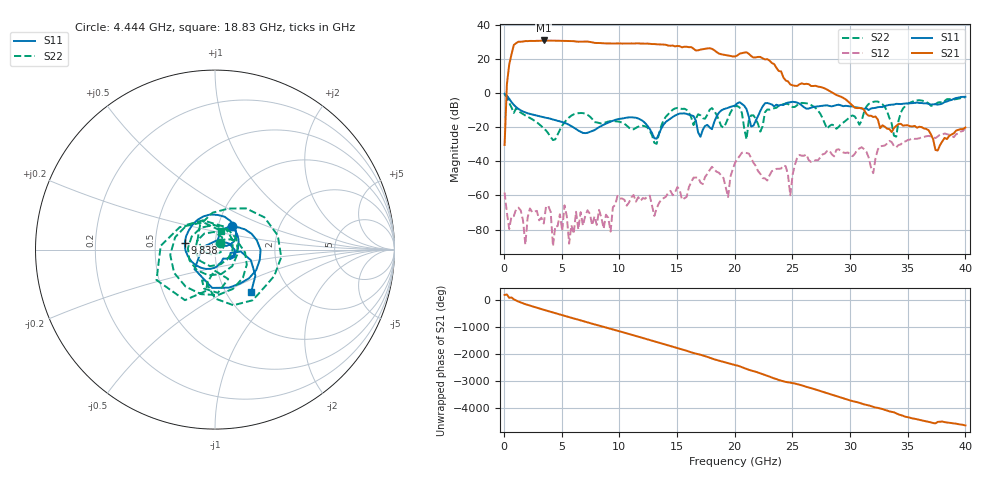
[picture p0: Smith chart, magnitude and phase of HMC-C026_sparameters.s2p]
!Hittite Microwave Corporation
!20 Alpha Road
!Chelmsford, MA 01824
!Tel: 978-250-3343
!Fax: 978-250-3373
!Device: HMC-C026, 2-20 GHz, Wideband PA Module
!Misc: Vdd = +12V, Idd = 400 mA, Room Temperature
# GHZ S DB R 50
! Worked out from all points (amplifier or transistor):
!   201 points, 50 MHz to 40 GHz, reference 50 ohm
!   highest |S21| = 31.0 dB at 3.446 GHz (marker M1)
!   |S21| within 3 dB of that: 836.2 MHz to 14.22 GHz (13.39 GHz wide, 178 % of centre)
!   unconditionally stable (mu >= 1): start of sweep to end of sweep
!   at 6.642 GHz: K = 43.76, MAG = 30.6 dB, |S12| = -69.8 dB
!   at 20.02 GHz: K = 3.00, MAG = 23.6 dB, |S12| = -40.9 dB
!   at 40 GHz: K = 9.24, MAG = -12.5 dB, |S12| = -20.4 dB
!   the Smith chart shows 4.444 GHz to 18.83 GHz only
!   S11 on the Smith chart (normalised r, x): 4.444 GHz: 1.16, +0.32; 9.838 GHz: 0.71, +0.05; 18.83 GHz: 1.30, -0.69
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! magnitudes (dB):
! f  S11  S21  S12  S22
! 50 MHz  -0.3  -30.3  -58.2  -0.7
! 249.8 MHz  -1.4  5.4  -70.2  -2.5
! 849 MHz  -6.8  28.4  -72.1  -11.6
! 3.446 GHz  -14.2  31.0  -76.5  -20.6
! 4.444 GHz  -15.8  30.9  -77.9  -27.1
! 6.841 GHz  -23.3  30.4  -77.7  -11.6
! 9.239 GHz  -16.7  29.2  -81.2  -16.3
! 9.838 GHz  -15.3  29.2  -60.2  -16.5
! 13.43 GHz  -24.0  28.7  -64.5  -23.6
! 15.03 GHz  -12.4  27.8  -55.0  -8.6
! 18.83 GHz  -10.1  22.9  -48.2  -19.2
! 19.43 GHz  -8.5  22.2  -61.0  -14.6
! 20.02 GHz  -7.2  21.6  -40.9  -7.6
! 21.02 GHz  -9.3  24.0  -35.1  -27.1
! 24.42 GHz  -5.9  7.5  -42.8  -6.2
! 24.82 GHz  -5.3  5.2  -59.9  -7.4
! 25.42 GHz  -5.5  4.3  -37.7  -7.0
! 26.82 GHz  -8.0  4.3  -40.0  -7.7
! 28.81 GHz  -6.9  -1.0  -33.2  -20.9
! 32.01 GHz  -8.7  -13.9  -46.9  -5.1
! 33.41 GHz  -6.8  -21.0  -28.0  -14.5
! 40 GHz  -2.1  -20.1  -20.4  -2.5
